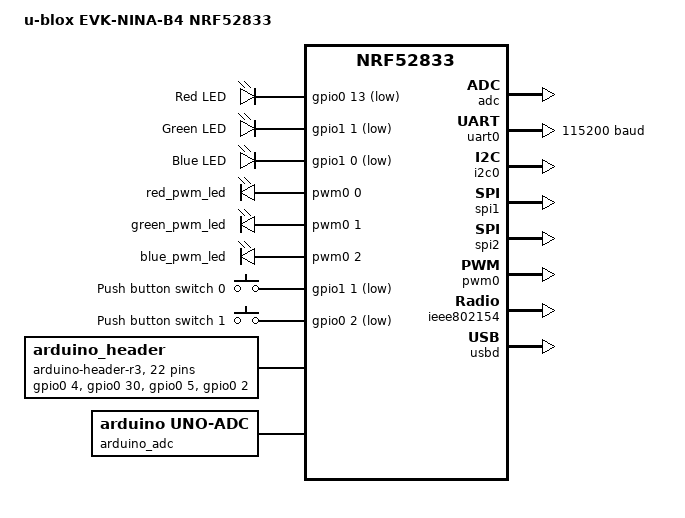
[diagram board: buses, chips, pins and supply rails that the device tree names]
/*
 * Copyright (c) 2020 u-blox AG
 *
 * SPDX-License-Identifier: Apache-2.0
 */

/dts-v1/;
#include <nordic/nrf52833_qiaa.dtsi>
#include "ubx_evkninab4_nrf52833-pinctrl.dtsi"
#include <zephyr/dt-bindings/gpio/arduino-header-r3.h>
#include <zephyr/dt-bindings/input/input-event-codes.h>

/ {
	model = "u-blox EVK-NINA-B4 NRF52833";
	compatible = "u-blox,ubx_evkninab4_nrf52833";

	chosen {
		zephyr,console = &uart0;
		zephyr,shell-uart = &uart0;
		zephyr,uart-mcumgr = &uart0;
		zephyr,bt-mon-uart = &uart0;
		zephyr,bt-c2h-uart = &uart0;
		zephyr,sram = &sram0;
		zephyr,flash = &flash0;
		zephyr,code-partition = &slot0_partition;
		zephyr,ieee802154 = &ieee802154;
	};

	leds {
		compatible = "gpio-leds";
		led0: led_0 {
			/* NINA-B1 GPIO_1 */
			gpios = <&gpio0 13 GPIO_ACTIVE_LOW>;
			label = "Red LED";
		};
		led1: led_1 {
			/* NINA-B4 GPIO_7 */
			gpios = <&gpio1 1 GPIO_ACTIVE_LOW>;
			label = "Green LED";
		};
		led2: led_2 {
			/*NINA-B1 GPIO_8 */
			gpios = <&gpio1 0 GPIO_ACTIVE_LOW>;
			label = "Blue LED";
		};
	};

	pwmleds {
		compatible = "pwm-leds";
		red_pwm_led: red_pwm_led {
			pwms = <&pwm0 0 PWM_MSEC(20) PWM_POLARITY_INVERTED>;
		};
		green_pwm_led: green_pwm_led {
			pwms = <&pwm0 1 PWM_MSEC(20) PWM_POLARITY_INVERTED>;
		};
		blue_pwm_led: blue_pwm_led {
			pwms = <&pwm0 2 PWM_MSEC(20) PWM_POLARITY_INVERTED>;
		};
	};

	buttons {
		compatible = "gpio-keys";
		button0: button_0 {
			/* EVK-NINA-B4 SW1 button */
			gpios = <&gpio1 1 (GPIO_PULL_UP | GPIO_ACTIVE_LOW)>;
			label = "Push button switch 0";
			zephyr,code = <INPUT_KEY_0>;
		};
		button1: button_1 {
			/* EVK-NINA-B4 SW2 button */
			gpios = <&gpio0 2 (GPIO_PULL_UP | GPIO_ACTIVE_LOW)>;
			label = "Push button switch 1";
			zephyr,code = <INPUT_KEY_1>;
		};
	};

	arduino_header: connector {
		compatible = "arduino-header-r3";
		#gpio-cells = <2>;
		gpio-map-mask = <0xffffffff 0xffffffc0>;
		gpio-map-pass-thru = <0 0x3f>;
		gpio-map = <ARDUINO_HEADER_R3_A0 0 &gpio0 4 0>,
			   <ARDUINO_HEADER_R3_A1 0 &gpio0 30 0>,
			   <ARDUINO_HEADER_R3_A2 0 &gpio0 5 0>,
			   <ARDUINO_HEADER_R3_A3 0 &gpio0 2 0>,
			   <ARDUINO_HEADER_R3_A4 0 &gpio0 28 0>,
			   <ARDUINO_HEADER_R3_A5 0 &gpio0 3 0>,
			   <ARDUINO_HEADER_R3_D0 0 &gpio0 29 0>,
			   <ARDUINO_HEADER_R3_D1 0 &gpio1 5 0>,
			   <ARDUINO_HEADER_R3_D2 0 &gpio0 23 0>,
			   <ARDUINO_HEADER_R3_D3 0 &gpio0 31 0>,
			   <ARDUINO_HEADER_R3_D4 0 &gpio0 13 0>,
			   <ARDUINO_HEADER_R3_D5 0 &gpio0 11 0>,
			   <ARDUINO_HEADER_R3_D6 0 &gpio0 9 0>, /* NFC use by default */
			   <ARDUINO_HEADER_R3_D7 0 &gpio0 10 0>, /* NFC use by default */
			   <ARDUINO_HEADER_R3_D8 0 &gpio1 9 0>,
			   <ARDUINO_HEADER_R3_D9 0 &gpio0 12 0>,
			   /* D10 is disconnected, see EVK User Guide */
			   <ARDUINO_HEADER_R3_D10 0 &gpio0 0 0>,
			   /* D11 is disconnected, see EVK User Guide */
			   <ARDUINO_HEADER_R3_D11 0 &gpio0 1 0>,
			   <ARDUINO_HEADER_R3_D12 0 &gpio1 0 0>,
			   <ARDUINO_HEADER_R3_D13 0 &gpio0 7 0>,
			   <ARDUINO_HEADER_R3_D14 0 &gpio0 16 0>,  /* SDA */
			   <ARDUINO_HEADER_R3_D15 0 &gpio0 17 0>;  /* SCL */
	};

	arduino_adc: analog-connector {
		compatible = "arduino,uno-adc";
		#io-channel-cells = <1>;
		io-channel-map = <0 &adc 2>,	/* A0 = P0.04 = AIN2 */
				 <1 &adc 6>,	/* A1 = P0.30 = AIN6 */
				 <2 &adc 3>,	/* A2 = P0.5 = AIN3 */
				 <3 &adc 0>,	/* A3 = P0.2 = AIN0 */
				 <4 &adc 4>,	/* A4 = P0.28 = AIN4 */
				 <5 &adc 1>;	/* A5 = P0.3 = AIN1 */
	};

	/* These aliases are provided for compatibility with samples */
	aliases {
		led0 = &led0;
		led1 = &led1;
		led2 = &led2;
		pwm-led0 = &red_pwm_led;
		pwm-led1 = &green_pwm_led;
		pwm-led2 = &blue_pwm_led;
		red-pwm-led = &red_pwm_led;
		green-pwm-led = &green_pwm_led;
		blue-pwm-led = &blue_pwm_led;
		sw0 = &button0;
		sw1 = &button1;
		watchdog0 = &wdt0;
	};
};

&reg1 {
	regulator-initial-mode = <NRF5X_REG_MODE_DCDC>;
};

&adc {
	status = "okay";
};

&uicr {
	gpio-as-nreset;
};

&gpiote {
	status = "okay";
};

&gpio0 {
	status = "okay";
};

&gpio1 {
	status = "okay";
};

&uart0 {
	compatible = "nordic,nrf-uart";
	status = "okay";
	current-speed = <115200>;
	pinctrl-0 = <&uart0_default>;
	pinctrl-1 = <&uart0_sleep>;
	pinctrl-names = "default", "sleep";
};

arduino_i2c: &i2c0 {
	compatible = "nordic,nrf-twi";
	status = "okay";
	pinctrl-0 = <&i2c0_default>;
	pinctrl-1 = <&i2c0_sleep>;
	pinctrl-names = "default", "sleep";
};

&spi0 {
	compatible = "nordic,nrf-spi";
	/* Cannot be used together with i2c0. */
	/* status = "okay"; */
	pinctrl-0 = <&spi0_default>;
	pinctrl-1 = <&spi0_sleep>;
	pinctrl-names = "default", "sleep";
};

&spi1 {
	compatible = "nordic,nrf-spi";
	status = "okay";
	pinctrl-0 = <&spi1_default>;
	pinctrl-1 = <&spi1_sleep>;
	pinctrl-names = "default", "sleep";
};

arduino_spi: &spi2 {
	compatible = "nordic,nrf-spim";
	status = "okay";
	cs-gpios = <&arduino_header 0 GPIO_ACTIVE_LOW>; /* D10 */
	pinctrl-0 = <&spi2_default>;
	pinctrl-1 = <&spi2_sleep>;
	pinctrl-names = "default", "sleep";
};

&pwm0 {
	status = "okay";
	pinctrl-0 = <&pwm0_default>;
	pinctrl-1 = <&pwm0_sleep>;
	pinctrl-names = "default", "sleep";
};

&ieee802154 {
	status = "okay";
};

&flash0 {
	partitions {
		compatible = "fixed-partitions";
		#address-cells = <1>;
		#size-cells = <1>;

		boot_partition: partition@0 {
			label = "mcuboot";
			reg = <0x00000000 0xC000>;
		};
		slot0_partition: partition@c000 {
			label = "image-0";
			reg = <0x0000C000 0x32000>;
		};
		slot1_partition: partition@3e000 {
			label = "image-1";
			reg = <0x0003E000 0x32000>;
		};
		scratch_partition: partition@70000 {
			label = "image-scratch";
			reg = <0x00070000 0xA000>;
		};
		storage_partition: partition@7a000 {
			label = "storage";
			reg = <0x0007A000 0x00006000>;
		};
	};
};

zephyr_udc0: &usbd {
	compatible = "nordic,nrf-usbd";
	status = "okay";
};
